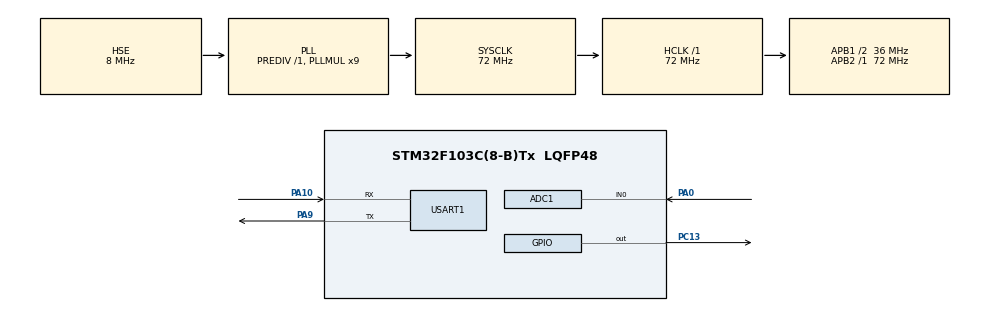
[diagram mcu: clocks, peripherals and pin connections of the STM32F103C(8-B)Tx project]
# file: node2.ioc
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ADC1.Channel-1\#ChannelRegularConversion=ADC_CHANNEL_0
ADC1.NbrOfConversionFlag=1
ADC1.Rank-1\#ChannelRegularConversion=1
ADC1.SamplingTime-1\#ChannelRegularConversion=ADC_SAMPLETIME_239CYCLES_5
ADC1.master=1
Dma.Request0=USART1_RX
Dma.USART1_RX.0.Direction=DMA_PERIPH_TO_MEMORY
Dma.USART1_RX.0.Instance=DMA1_Channel5
Dma.USART1_RX.0.MemDataAlignment=DMA_MDATAALIGN_BYTE
Dma.USART1_RX.0.MemInc=DMA_MINC_ENABLE
Dma.USART1_RX.0.Mode=DMA_NORMAL
Dma.USART1_RX.0.PeriphDataAlignment=DMA_PDATAALIGN_BYTE
Dma.USART1_RX.0.PeriphInc=DMA_PINC_DISABLE
Dma.USART1_RX.0.Priority=DMA_PRIORITY_LOW
Mcu.Family=STM32F1
Mcu.Name=STM32F103C(8-B)Tx
Mcu.Package=LQFP48
NVIC.DMA1_Channel5_IRQn=true\:0\:0\:false\:false\:true\:false\:true\:true
NVIC.PriorityGroup=NVIC_PRIORITYGROUP_4
NVIC.USART1_IRQn=true\:0\:0\:false\:false\:true\:true\:true\:true
PA0-WKUP.Signal=ADCx_IN0
PA10.Mode=Asynchronous
PA10.Signal=USART1_RX
PA13.Mode=Serial_Wire
PA13.Signal=SYS_JTMS-SWDIO
PA14.Mode=Serial_Wire
PA14.Signal=SYS_JTCK-SWCLK
PA9.Mode=Asynchronous
PA9.Signal=USART1_TX
PC13-TAMPER-RTC.Signal=GPIO_Output
PD0-OSC_IN.Mode=HSE-External-Oscillator
PD0-OSC_IN.Signal=RCC_OSC_IN
PD1-OSC_OUT.Mode=HSE-External-Oscillator
PD1-OSC_OUT.Signal=RCC_OSC_OUT
ProjectManager.HeapSize=0x200
ProjectManager.StackSize=0x400
ProjectManager.TargetToolchain=MDK-ARM V5.32
RCC.ADCPresc=RCC_ADCPCLK2_DIV6
RCC.AHBFreq_Value=72000000
RCC.APB1CLKDivider=RCC_HCLK_DIV2
RCC.APB1Freq_Value=36000000
RCC.APB1TimFreq_Value=72000000
RCC.APB2Freq_Value=72000000
RCC.APB2TimFreq_Value=72000000
RCC.HCLKFreq_Value=72000000
RCC.PLLMUL=RCC_PLL_MUL9
RCC.PLLSourceVirtual=RCC_PLLSOURCE_HSE
RCC.SYSCLKFreq_VALUE=72000000
RCC.SYSCLKSource=RCC_SYSCLKSOURCE_PLLCLK
RCC.USBFreq_Value=48000000
RCC.USBPrescaler=RCC_USBCLKSOURCE_PLL_DIV1_5
SH.ADCx_IN0.0=ADC1_IN0,IN0
USART1.VirtualMode=VM_ASYNC
board=custom

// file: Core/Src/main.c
/* USER CODE BEGIN Header */
/**
 ******************************************************************************
 * @file           : main.c
 * @brief          : Main program body
 ******************************************************************************
 * @attention
 *
 * Copyright (c) 2026 STMicroelectronics.
 * All rights reserved.
 *
 * This software is licensed under terms that can be found in the LICENSE file
 * in the root directory of this software component.
 * If no LICENSE file comes with this software, it is provided AS-IS.
 *
 ******************************************************************************
 */
/* USER CODE END Header */
#include "main.h"

/* USER CODE BEGIN Includes */
#include "stdio.h"
#include "string.h"
#include "math.h"
#include "acs712.h"
/* USER CODE END Includes */

/* USER CODE BEGIN PD */

#define ADC_MAX       4095.0
#define VREF          3.3

#define SENSITIVITY   0.185   // ACS712 5A
#define SAMPLE_COUNT  1000

#define NOISE_CURRENT 0.15

ACS712_HandleTypeDef acs712;
char msg[100];
/* USER CODE END PD */

ADC_HandleTypeDef hadc1;

UART_HandleTypeDef huart1;
DMA_HandleTypeDef hdma_usart1_rx;

/* USER CODE BEGIN PV */
float last_filtered = 0;
float offset = 0;
char msg[100];
char msg1[50];
float energy_Wh = 0;
/* USER CODE END PV */

void SystemClock_Config(void);
static void MX_GPIO_Init(void);
static void MX_DMA_Init(void);
static void MX_USART1_UART_Init(void);
static void MX_ADC1_Init(void);
/* USER CODE BEGIN PFP */

int _write(int file, char *ptr, int len) {
	HAL_UART_Transmit(&huart1, (uint8_t*) ptr, len, HAL_MAX_DELAY);
	return len;
}
/* USER CODE END PFP */

/* USER CODE BEGIN 0 */

//uint16_t ADC_Read() {
//    HAL_ADC_Start(&hadc1);
//    HAL_ADC_PollForConversion(&hadc1, HAL_MAX_DELAY);
//    uint16_t val = HAL_ADC_GetValue(&hadc1);
//    HAL_ADC_Stop(&hadc1);
//    return val;
//}
///* ================= CALIBRATE ================= */
//void ACS712_Calibrate() {
//	float sum = 0;
//
//	printf("Calibrating...\r\n");
//
//	for (int i = 0; i < 2000; i++) {
//		uint16_t adc = ADC_Read();
//		float voltage = adc * VREF / ADC_MAX;
//		sum += voltage;
//	}
//
//	offset = sum / 2000.0;
//
//	printf("Offset = %.4f V\r\n", offset);
//}
//
//float Read_AC() {
//	float sum_sq = 0;
//	float sum = 0;
//
//	// ===== Lấy trung bình (offset thực) =====
//	for (int i = 0; i < SAMPLE_COUNT; i++) {
//		uint16_t adc = ADC_Read();
//		float voltage = adc * VREF / ADC_MAX;
//		sum += voltage;
//	}
//
//	float mean = sum / SAMPLE_COUNT;
//
//	// ===== Tính RMS =====
//	for (int i = 0; i < SAMPLE_COUNT; i++) {
//		uint16_t adc = ADC_Read();
//		float voltage = adc * VREF / ADC_MAX;
//
//		float current = (voltage - mean) / SENSITIVITY;
//
//		sum_sq += current * current;
//	}
//
//	float irms = sqrt(sum_sq / SAMPLE_COUNT);
//
//	// lọc nhiễu
//	if (irms < NOISE_CURRENT)
//		irms = 0;
//
//	// low pass filter
//	static float last = 0;
//	float alpha = 0.2;
//	irms = alpha * irms + (1 - alpha) * last;
//	last = irms;
//
//	return irms;
//}
//
//float Calculate_Power(float current) {
//    return 220.0 * current * 0.8;
//}
//
void Send_AC(float ac) {
	sprintf(msg, "NODE2:1:AC:%.3f\r\n", ac);
	HAL_UART_Transmit(&huart1, (uint8_t*) msg, strlen(msg), 100);
}

void Send_POWER(float power) {
	sprintf(msg, "NODE2:1:AC_POWER:%.2f\r\n", power);
	HAL_UART_Transmit(&huart1, (uint8_t*) msg, strlen(msg), 100);
}
/* USER CODE END 0 */

int main(void) {

	/* MCU Configuration--------------------------------------------------------*/

	/* Reset of all peripherals, Initializes the Flash interface and the Systick. */
	HAL_Init();

	/* Configure the system clock */
	SystemClock_Config();

	/* Initialize all configured peripherals */
	MX_GPIO_Init();
	MX_DMA_Init();
	MX_USART1_UART_Init();
	MX_ADC1_Init();
	/* USER CODE BEGIN 2 */
	ACS712_Init(&acs712, &hadc1);
	ACS712_Calibrate(&acs712);

	/* USER CODE END 2 */

	/* Infinite loop */
	/* USER CODE BEGIN WHILE */
	while (1) {
//		float ac = Read_AC();
//		float power = Calculate_Power(ac);
//
//		Send_AC(ac);
//		Send_AC_POWER(power);
//
//		HAL_Delay(500);
//
//		// chống trôi offset
//		static int cnt = 0;
//		cnt++;
//		if (cnt >= 20) {
//			ACS712_Calibrate();
//			cnt = 0;
//		}
		float current = ACS712_ReadCurrent(&acs712);
		float power = ACS712_CalcPower(current);
		float dt = 0.5f / 3600.0f;   // 0.5 giây → giờ
		energy_Wh += power * dt;
		Send_AC(current);
		Send_POWER(power);

		sprintf(msg1, "NODE2:1:ENERGY:%.4f\r\n", energy_Wh);
		HAL_UART_Transmit(&huart1, (uint8_t*)msg, strlen(msg), 100);
		HAL_Delay(500);

		/* USER CODE END WHILE */

	}
}

void SystemClock_Config(void) {
	RCC_OscInitTypeDef RCC_OscInitStruct = { 0 };
	RCC_ClkInitTypeDef RCC_ClkInitStruct = { 0 };
	RCC_PeriphCLKInitTypeDef PeriphClkInit = { 0 };

	/** Initializes the RCC Oscillators according to the specified parameters
	 * in the RCC_OscInitTypeDef structure.
	 */
	RCC_OscInitStruct.OscillatorType = RCC_OSCILLATORTYPE_HSE;
	RCC_OscInitStruct.HSEState = RCC_HSE_ON;
	RCC_OscInitStruct.HSEPredivValue = RCC_HSE_PREDIV_DIV1;
	RCC_OscInitStruct.HSIState = RCC_HSI_ON;
	RCC_OscInitStruct.PLL.PLLState = RCC_PLL_ON;
	RCC_OscInitStruct.PLL.PLLSource = RCC_PLLSOURCE_HSE;
	RCC_OscInitStruct.PLL.PLLMUL = RCC_PLL_MUL9;
	if (HAL_RCC_OscConfig(&RCC_OscInitStruct) != HAL_OK) {
		Error_Handler();
	}

	/** Initializes the CPU, AHB and APB buses clocks
	 */
	RCC_ClkInitStruct.ClockType = RCC_CLOCKTYPE_HCLK | RCC_CLOCKTYPE_SYSCLK
			| RCC_CLOCKTYPE_PCLK1 | RCC_CLOCKTYPE_PCLK2;
	RCC_ClkInitStruct.SYSCLKSource = RCC_SYSCLKSOURCE_PLLCLK;
	RCC_ClkInitStruct.AHBCLKDivider = RCC_SYSCLK_DIV1;
	RCC_ClkInitStruct.APB1CLKDivider = RCC_HCLK_DIV2;
	RCC_ClkInitStruct.APB2CLKDivider = RCC_HCLK_DIV1;

	if (HAL_RCC_ClockConfig(&RCC_ClkInitStruct, FLASH_LATENCY_2) != HAL_OK) {
		Error_Handler();
	}
	PeriphClkInit.PeriphClockSelection = RCC_PERIPHCLK_ADC;
	PeriphClkInit.AdcClockSelection = RCC_ADCPCLK2_DIV6;
	if (HAL_RCCEx_PeriphCLKConfig(&PeriphClkInit) != HAL_OK) {
		Error_Handler();
	}
}

static void MX_ADC1_Init(void) {

	ADC_ChannelConfTypeDef sConfig = { 0 };

	/** Common config
	 */
	hadc1.Instance = ADC1;
	hadc1.Init.ScanConvMode = ADC_SCAN_DISABLE;
	hadc1.Init.ContinuousConvMode = DISABLE;
	hadc1.Init.DiscontinuousConvMode = DISABLE;
	hadc1.Init.ExternalTrigConv = ADC_SOFTWARE_START;
	hadc1.Init.DataAlign = ADC_DATAALIGN_RIGHT;
	hadc1.Init.NbrOfConversion = 1;
	if (HAL_ADC_Init(&hadc1) != HAL_OK) {
		Error_Handler();
	}

	/** Configure Regular Channel
	 */
	sConfig.Channel = ADC_CHANNEL_0;
	sConfig.Rank = ADC_REGULAR_RANK_1;
	sConfig.SamplingTime = ADC_SAMPLETIME_71CYCLES_5;
	if (HAL_ADC_ConfigChannel(&hadc1, &sConfig) != HAL_OK) {
		Error_Handler();
	}

}

static void MX_USART1_UART_Init(void) {

	huart1.Instance = USART1;
	huart1.Init.BaudRate = 115200;
	huart1.Init.WordLength = UART_WORDLENGTH_8B;
	huart1.Init.StopBits = UART_STOPBITS_1;
	huart1.Init.Parity = UART_PARITY_NONE;
	huart1.Init.Mode = UART_MODE_TX_RX;
	huart1.Init.HwFlowCtl = UART_HWCONTROL_NONE;
	huart1.Init.OverSampling = UART_OVERSAMPLING_16;
	if (HAL_UART_Init(&huart1) != HAL_OK) {
		Error_Handler();
	}

}

static void MX_DMA_Init(void) {

	/* DMA controller clock enable */
	__HAL_RCC_DMA1_CLK_ENABLE();

	/* DMA interrupt init */
	/* DMA1_Channel5_IRQn interrupt configuration */
	HAL_NVIC_SetPriority(DMA1_Channel5_IRQn, 0, 0);
	HAL_NVIC_EnableIRQ(DMA1_Channel5_IRQn);

}

static void MX_GPIO_Init(void) {
	GPIO_InitTypeDef GPIO_InitStruct = { 0 };

	/* GPIO Ports Clock Enable */
	__HAL_RCC_GPIOC_CLK_ENABLE();
	__HAL_RCC_GPIOD_CLK_ENABLE();
	__HAL_RCC_GPIOA_CLK_ENABLE();

	/*Configure GPIO pin Output Level */
	HAL_GPIO_WritePin(GPIOC, GPIO_PIN_13, GPIO_PIN_RESET);

	/*Configure GPIO pin : PC13 */
	GPIO_InitStruct.Pin = GPIO_PIN_13;
	GPIO_InitStruct.Mode = GPIO_MODE_OUTPUT_PP;
	GPIO_InitStruct.Pull = GPIO_NOPULL;
	GPIO_InitStruct.Speed = GPIO_SPEED_FREQ_LOW;
	HAL_GPIO_Init(GPIOC, &GPIO_InitStruct);

}

void Error_Handler(void) {
	__disable_irq();
	while (1) {
	}
}
